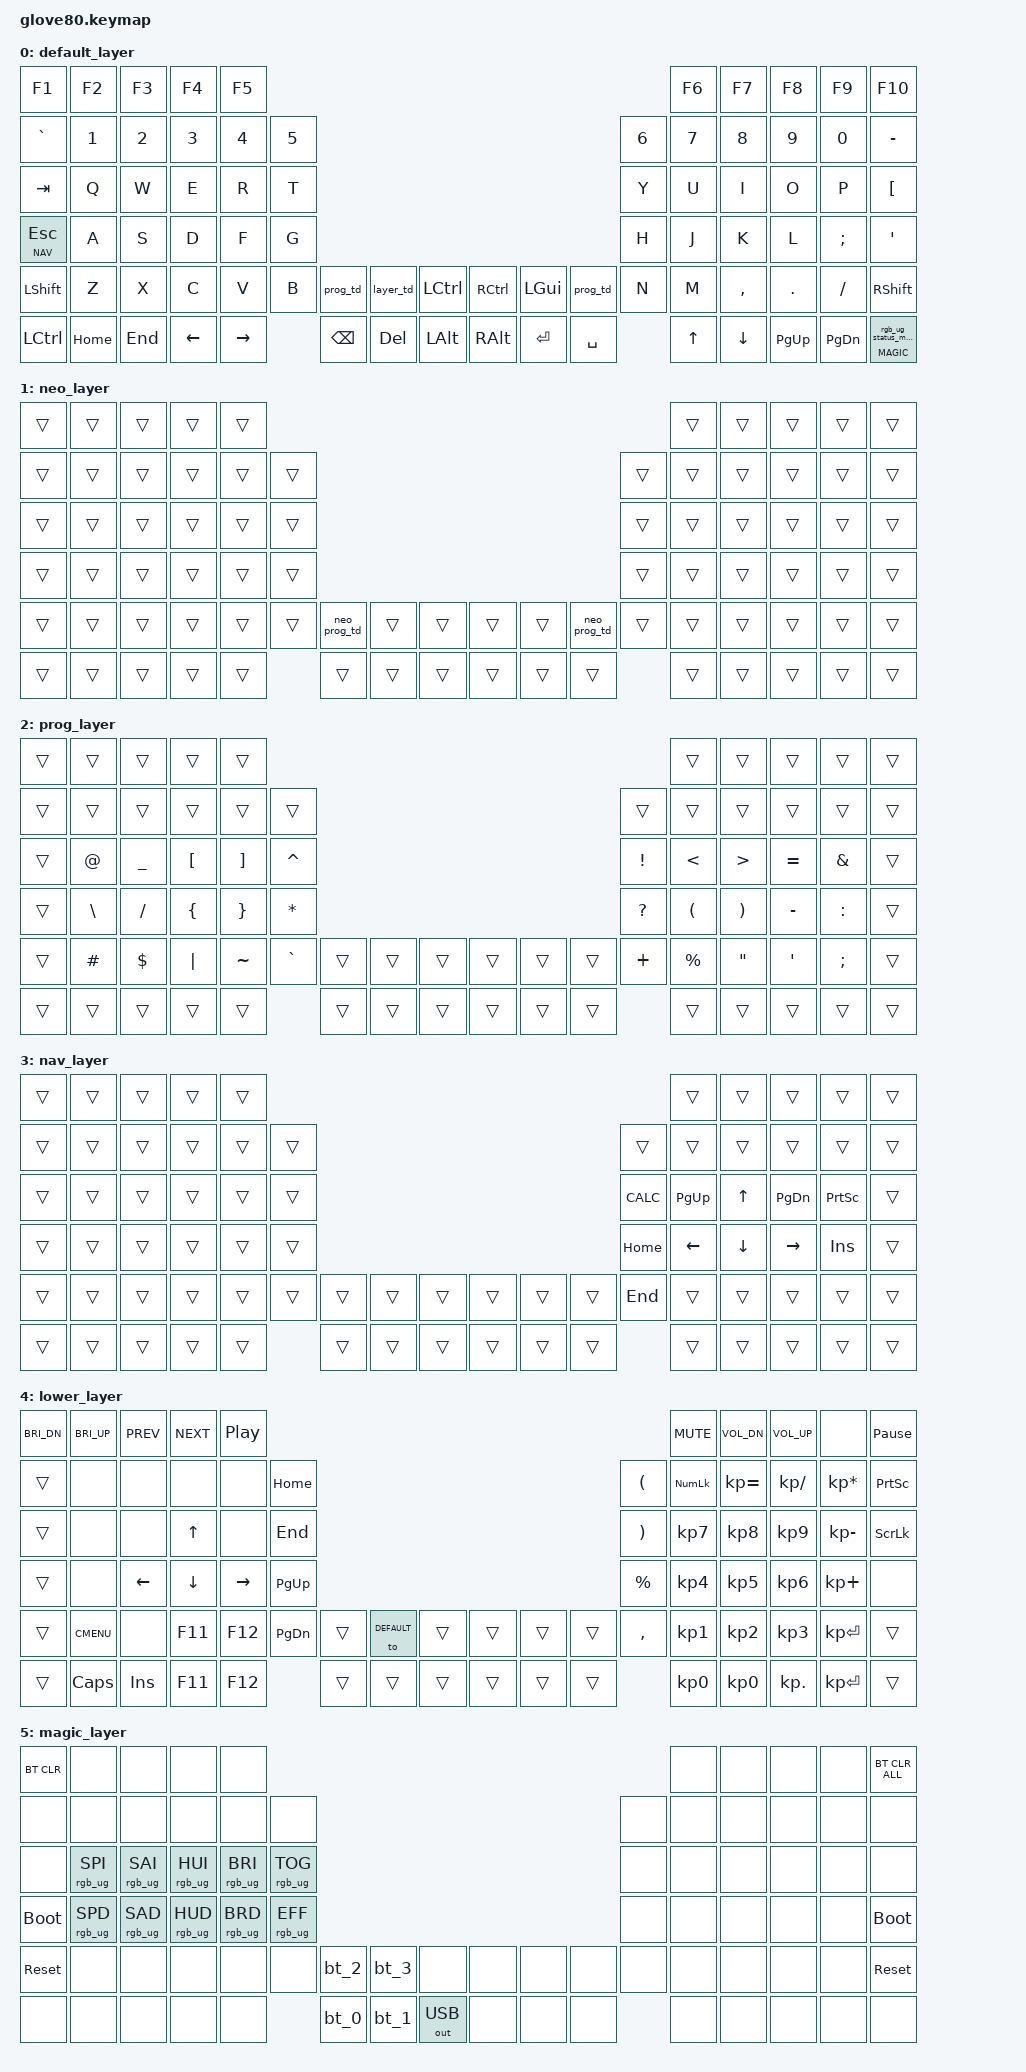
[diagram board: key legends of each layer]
/*
 * Copyright (c) 2020 The ZMK Contributors
 *
 * SPDX-License-Identifier: MIT
 */

#include <behaviors.dtsi>
#include <dt-bindings/zmk/keys.h>
#include <dt-bindings/zmk/bt.h>
#include <dt-bindings/zmk/ext_power.h>
#include <dt-bindings/zmk/outputs.h>
#include <dt-bindings/zmk/rgb.h>

#define HYPER LC(LS(LG(LALT)))

// layers
#define DEFAULT 0
#define NEO     1
#define PROG    2
#define NAV     3
#define LOWER   4
#define MAGIC   5

/ {
    behaviors {
        // For the "layer" key, it'd nice to be able to use it as either a shift or a toggle.
        // Configure it as a tap dance, so the first tap (or hold) is a &mo and the second tap is a &to
        layer_td: tap_dance_0 {
            compatible = "zmk,behavior-tap-dance";
            #binding-cells = <0>;
            tapping-term-ms = <200>;
            bindings = <&mo LOWER>, <&to LOWER>;
        };

        prog_td: tap_dance_1 {
            compatible = "zmk,behavior-tap-dance";
            #binding-cells = <0>;
            tapping-term-ms = <200>;
            bindings = <&mo PROG>, <&tog NEO>;
        };

        neo_prog_td: tap_dance_2 {
            compatible = "zmk,behavior-tap-dance";
            #binding-cells = <0>;
            tapping-term-ms = <200>;
            bindings = <&kp BSLH>, <&tog NEO>;
        };

        lth: layer_tap_hold {
            compatible = "zmk,behavior-hold-tap";
            flavor = "hold-preferred";
            #binding-cells = <2>;
            tapping-term-ms = <200>;
            bindings = <&mo>, <&kp>;
        };

        magic: magic_hold_tap {
            compatible = "zmk,behavior-hold-tap";
            label = "MAGIC_HOLD_TAP";
            #binding-cells = <2>;
            flavor = "tap-preferred";
            tapping-term-ms = <200>;
            bindings = <&mo>, <&rgb_ug_status_macro>;
        };
    };

    macros {
        rgb_ug_status_macro: rgb_ug_status_macro_0 {
            label = "RGB_UG_STATUS";
            compatible = "zmk,behavior-macro";
            #binding-cells = <0>;
            bindings
                = <&rgb_ug RGB_STATUS>;
        };

        bt_0: bt_profile_macro_0 {
            label = "BT_0";
            compatible = "zmk,behavior-macro";
            #binding-cells = <0>;
            bindings
                = <&out OUT_BLE>,
                  <&bt BT_SEL 0>;
        };

        bt_1: bt_profile_macro_1 {
            label = "BT_1";
            compatible = "zmk,behavior-macro";
            #binding-cells = <0>;
            bindings
                = <&out OUT_BLE>,
                  <&bt BT_SEL 1>;
        };

        bt_2: bt_profile_macro_2 {
            label = "BT_2";
            compatible = "zmk,behavior-macro";
            #binding-cells = <0>;
            bindings
                = <&out OUT_BLE>,
                  <&bt BT_SEL 2>;
        };

        bt_3: bt_profile_macro_3 {
            label = "BT_3";
            compatible = "zmk,behavior-macro";
            #binding-cells = <0>;
            bindings
                = <&out OUT_BLE>,
                  <&bt BT_SEL 3>;
        };
    };

    keymap {
        compatible = "zmk,keymap";

        default_layer {
            // ---------------------------------------------------------------------------------------------------------------------------------
            // |  F1   |  F2 |  F3 |  F4  |  F5  |                                                               |  F6   |  F7   |  F8  |   F9  |  F10  |
            // |  `    |  1  |  2  |  3   |  4   |  5   |                                                 |  6   |   7   |   8   |  9   |   0   |   -   |
            // |  TAB  |  Q  |  W  |  E   |  R   |  T   |                                                 |  Y   |   U   |   I   |  O   |   P   |   [   |
            // |  ESC  |  A  |  S  |  D   |  F   |  G   |                                                 |  H   |   J   |   K   |  L   |   ;   |   '   |
            // | LSHFT |  Z  |  X  |  C   |  V   |  B   | PROG  | LOWER | LCRTL | | RCTRL | RGUI  | PROG  |  N   |   M   |   ,   |  .   |   /   | RSHFT |
            // | LCTRL | HOME| END | LEFT | RIGHT|      | BSPC  | DEL   | LALT  | | RALT  | RET   | SPACE |      |  UP   | DOWN  | PGDN | PGUP  | MAGIC |

            bindings = <
            &kp F1         &kp F2   &kp F3      &kp F4      &kp F5                                                                                         &kp F6  &kp F7      &kp F8      &kp F9      &kp F10
            &kp GRAVE      &kp N1   &kp N2      &kp N3      &kp N4      &kp N5                                                                     &kp N6  &kp N7  &kp N8      &kp N9      &kp N0      &kp MINUS
            &kp TAB        &kp Q    &kp W       &kp E       &kp R       &kp T                                                                      &kp Y   &kp U   &kp I       &kp O       &kp P       &kp LBKT
            &lth NAV ESC   &kp A    &kp S       &kp D       &kp F       &kp G                                                                      &kp H   &kp J   &kp K       &kp L       &kp SEMI    &kp SQT
            &kp LSHFT      &kp Z    &kp X       &kp C       &kp V       &kp B   &prog_td    &layer_td   &kp LCTRL  &kp RCTRL &kp LGUI  &prog_td    &kp N   &kp M   &kp COMMA   &kp DOT     &kp FSLH    &kp RSHFT
            &kp LCTRL      &kp HOME &kp END     &kp LEFT    &kp RIGHT           &kp BSPC    &kp DEL     &kp LALT   &kp RALT  &kp RET   &kp SPACE           &kp UP  &kp DOWN    &kp PG_UP   &kp PG_DN   &magic MAGIC 0 
            >;
        };

        neo_layer {
            bindings = <
            &trans  &trans  &trans  &trans  &trans                                                                             &trans  &trans  &trans  &trans  &trans
            &trans  &trans  &trans  &trans  &trans  &trans                                                             &trans  &trans  &trans  &trans  &trans  &trans
            &trans  &trans  &trans  &trans  &trans  &trans                                                             &trans  &trans  &trans  &trans  &trans  &trans
            &trans  &trans  &trans  &trans  &trans  &trans                                                             &trans  &trans  &trans  &trans  &trans  &trans
            &trans  &trans  &trans  &trans  &trans  &trans  &neo_prog_td &trans &trans     &trans &trans &neo_prog_td  &trans  &trans  &trans  &trans  &trans  &trans
            &trans  &trans  &trans  &trans  &trans          &trans       &trans &trans     &trans &trans &trans        &trans  &trans  &trans  &trans  &trans
            >;
        };

        prog_layer {
            // ---------------------------------------------------------------------------------------------------------------------------------
            // |       |     |     |      |      |                                                               |       |       |      |       |       |
            // |       |     |     |      |      |      |                                                 |      |       |       |      |       |       |
            // |       |  @  |  _  |  [   |  ]   |  ^   |                                                 |  !   |   <   |   >   |  =   |   &   |       |
            // |       |  \  |  /  |  {   |  }   |  *   |                                                 |  ?   |   (   |   )   |  -   |   :   |       |
            // |       |  #  |  $  |  |   |  ~   |  `   |       |       |       | |       |       |       |  +   |   %   |   "   |  '   |   ;   |       |
            // |       |     |     |      |      |      |       |       |       | |       |       |       |      |       |       |      |       |       |

            bindings = <
            &trans &trans   &trans      &trans      &trans                                                                          &trans    &trans    &trans      &trans      &trans
            &trans &trans   &trans      &trans      &trans      &trans                                                    &trans    &trans    &trans    &trans      &trans      &trans
            &trans &kp AT   &kp UNDER   &kp LBKT    &kp RBKT    &kp CARET                                                 &kp EXCL  &kp LT    &kp GT    &kp EQUAL   &kp AMPS    &trans
            &trans &kp BSLH &kp FSLH    &kp LBRC    &kp RBRC    &kp STAR                                                  &kp QMARK &kp LPAR  &kp RPAR  &kp MINUS   &kp COLON   &trans
            &trans &kp HASH &kp DLLR    &kp PIPE    &kp TILDE   &kp GRAVE  &trans &trans &trans     &trans &trans &trans  &kp PLUS  &kp PRCNT &kp DQT   &kp SQT     &kp SEMI    &trans
            &trans &trans   &trans      &trans      &trans                 &trans &trans &trans     &trans &trans &trans            &trans    &trans    &trans      &trans      &trans
            >;
        };

        nav_layer {
            bindings = <
            &trans  &trans  &trans  &trans  &trans                                                                    &trans    &trans    &trans      &trans      &trans
            &trans  &trans  &trans  &trans  &trans  &trans                                                 &trans     &trans    &trans    &trans      &trans      &trans
            &trans  &trans  &trans  &trans  &trans  &trans                                                 &kp K_CALC &kp PG_UP &kp UP    &kp PG_DN   &kp PSCRN   &trans
            &trans  &trans  &trans  &trans  &trans  &trans                                                 &kp HOME   &kp LEFT  &kp DOWN  &kp RIGHT   &kp INS     &trans
            &trans  &trans  &trans  &trans  &trans  &trans  &trans &trans &trans     &trans &trans &trans  &kp END    &trans    &trans    &trans      &trans      &trans
            &trans  &trans  &trans  &trans  &trans          &trans &trans &trans     &trans &trans &trans             &trans    &trans    &trans      &trans      &trans
            >;
        };

        lower_layer {
            bindings = <
            &kp C_BRI_DN      &kp C_BRI_UP        &kp C_PREV      &kp C_NEXT      &kp C_PP                                                                                                           &kp C_MUTE   &kp C_VOL_DN &kp C_VOL_UP  &none           &kp PAUSE_BREAK
            &trans            &none               &none           &none           &none           &kp HOME                                                                              &kp LPAR     &kp KP_NUM   &kp KP_EQUAL &kp KP_DIVIDE &kp KP_MULTIPLY &kp PSCRN
            &trans            &none               &none           &kp UP          &none           &kp END                                                                               &kp RPAR     &kp KP_N7    &kp KP_N8    &kp KP_N9     &kp KP_MINUS    &kp SLCK
            &trans            &none               &kp LEFT        &kp DOWN        &kp RIGHT       &kp PG_UP                                                                             &kp PRCNT    &kp KP_N4    &kp KP_N5    &kp KP_N6     &kp KP_PLUS     &none
            &trans            &kp K_CMENU         &none           &kp F11         &kp F12         &kp PG_DN       &trans      &to DEFAULT &trans      &trans      &trans      &trans    &kp COMMA    &kp KP_N1    &kp KP_N2    &kp KP_N3     &kp KP_ENTER    &trans
            &trans            &kp CAPS            &kp INS         &kp F11         &kp F12                         &trans      &trans      &trans      &trans      &trans      &trans                 &kp KP_N0    &kp KP_N0    &kp KP_DOT    &kp KP_ENTER    &trans
            >;
        };

        magic_layer {
            bindings = <
            &bt BT_CLR        &none               &none           &none           &none                                                                                                           &none      &none      &none      &none      &bt BT_CLR_ALL
            &none             &none               &none           &none           &none           &none                                                                                &none      &none      &none      &none      &none      &none
            &none             &rgb_ug RGB_SPI     &rgb_ug RGB_SAI &rgb_ug RGB_HUI &rgb_ug RGB_BRI &rgb_ug RGB_TOG                                                                      &none      &none      &none      &none      &none      &none
            &bootloader       &rgb_ug RGB_SPD     &rgb_ug RGB_SAD &rgb_ug RGB_HUD &rgb_ug RGB_BRD &rgb_ug RGB_EFF                                                                      &none      &none      &none      &none      &none      &bootloader
            &sys_reset        &none               &none           &none           &none           &none           &bt_2     &bt_3     &none            &none     &none     &none       &none      &none      &none      &none      &none      &sys_reset
            &none             &none               &none           &none           &none                           &bt_0     &bt_1     &out OUT_USB     &none     &none     &none                  &none      &none      &none      &none      &none
            >;
        };

    };
};
